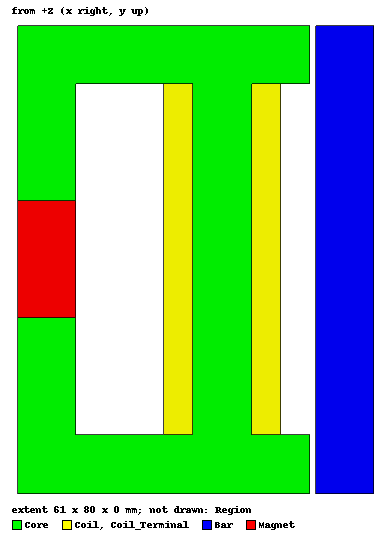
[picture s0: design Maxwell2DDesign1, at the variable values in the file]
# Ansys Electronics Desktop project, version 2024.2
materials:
  vacuum: permittivity=1
  steel_1008: permeability{HUnit=A_per_meter BUnit=tesla curve (0, 0) (159.2, 0.2402) (318.3, 0.8654) (477.5, 1.1106) (636.6, 1.2458) (795.8, 1.331) (1591.5, 1.5) (3183.1, 1.6) (4774.6, 1.683) (6366.2, 1.741) (7957.7, 1.78) (15915.5, 1.905) (31831, 2.025) (47746.5, 2.085) (63662, 2.13) (79577.5, 2.165) (159155, 2.28) (318310, 2.485) (397887, 2.5851)} conductivity=2000000
  copper: permeability=0.999991 conductivity=58000000
  NdFe35: permittivity=1 permeability=1.0997785 conductivity=625000 magnetic_coercivity{Magnitude=-890000A_per_meter DirComp1=1 DirComp2=0 DirComp3=0} lande_g_factor=2

design Maxwell2DDesign1 (Maxwell 2D, Magnetostatic, XY geometry, model units mm)
options: ModelDepth=1meter
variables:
  mx = 1mm
  c1 = 500A
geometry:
  Core#6 = box(corner=(0mm, 0mm, -5mm), size=(10mm, -30mm, 10mm))
  Box1_1 = Core#6.duplicate_along_line(step=(30mm, 0mm, 0mm), total=2)
  Box2 = box(corner=(0mm, -30mm, -5mm), size=(50mm, -10mm, 10mm))
  Core#6.unite(Box1_1, Box2)
  Core_1 = Core#6.duplicate_mirror(point=(0mm, 0mm, 0mm), normal=(0mm, 1mm, 0mm))
  Core#6.unite(Core_1)
  Bar#164 = box(corner=(50mm+mx, -40mm, -5mm), size=(10mm, 80mm, 10mm))
  Coil#192 = box(corner=(45mm, 30mm, 10mm), size=(-20mm, -60mm, -20mm))
  Core_2 = Core#6.copy()
  Coil#192.subtract(Core_2)
  Magnet#322 = box(corner=(0mm, -10mm, -5mm), size=(10mm, 20mm, 10mm))
  Magnet_1 = Magnet#322.copy()
  Core#6.subtract(Magnet_1)
  coordinate_system FaceCS1 = face of Magnet#322: Origin=(10, 10, 5) FaceID=Magnet#322.face(+z) AxisPosn=(10, -10, 5) WhichAxis=X ZRotationAngle=0 XOffset=0 YOffset=0 FaceNormal(0, 0, 1)
  Coil_Terminal [copper] = Coil#192.section(plane=XY)
  Coil_Terminal.separate_bodies()
  Region [vacuum] = region(percentage_offset=50 on all sides)
  Core [steel_1008] = Core#6.section(plane=XY)
  Core#6.delete()
  Bar [steel_1008] = Bar#164.section(plane=XY)
  Bar#164.delete()
  Coil [copper] = Coil#192.section(plane=XY)
  Coil#192.delete()
  Magnet [NdFe35, oriented by FaceCS1] = Magnet#322.section(plane=XY)
  Magnet#322.delete()
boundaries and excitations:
  Balloon1: Balloon Edges=Region.edge(all 4)
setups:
  Setup1: Magnetostatic MaximumPasses=2 MinimumPasses=2 MinimumConvergedPasses=1 PercentRefinement=30 PercentError=1 NonLinearResidual=0.0001
